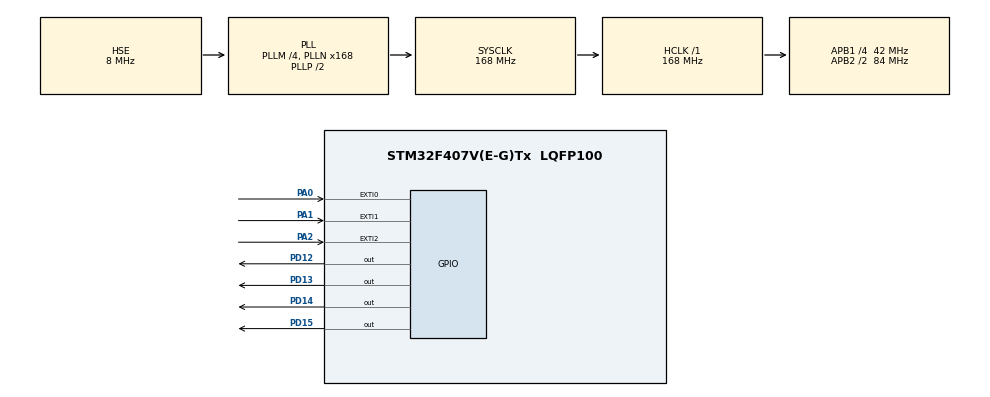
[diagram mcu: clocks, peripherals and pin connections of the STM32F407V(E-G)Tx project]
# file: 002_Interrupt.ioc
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Mcu.Family=STM32F4
Mcu.Name=STM32F407V(E-G)Tx
Mcu.Package=LQFP100
NVIC.EXTI0_IRQn=true\:0\:0\:false\:false\:true\:true\:true\:true
NVIC.EXTI1_IRQn=true\:0\:0\:false\:false\:true\:true\:true\:true
NVIC.EXTI2_IRQn=true\:0\:0\:false\:false\:true\:true\:true\:true
NVIC.PriorityGroup=NVIC_PRIORITYGROUP_4
PA0-WKUP.GPIO_ModeDefaultEXTI=GPIO_MODE_IT_RISING
PA0-WKUP.GPIO_PuPd=GPIO_PULLDOWN
PA0-WKUP.Signal=GPXTI0
PA1.GPIO_ModeDefaultEXTI=GPIO_MODE_IT_RISING
PA1.GPIO_PuPd=GPIO_PULLDOWN
PA1.Signal=GPXTI1
PA13.Mode=Serial_Wire
PA13.Signal=SYS_JTMS-SWDIO
PA14.Mode=Serial_Wire
PA14.Signal=SYS_JTCK-SWCLK
PA2.GPIO_ModeDefaultEXTI=GPIO_MODE_IT_RISING
PA2.GPIO_PuPd=GPIO_PULLDOWN
PA2.Signal=GPXTI2
PD12.GPIO_Speed=GPIO_SPEED_FREQ_VERY_HIGH
PD12.Signal=GPIO_Output
PD13.GPIO_Speed=GPIO_SPEED_FREQ_VERY_HIGH
PD13.Signal=GPIO_Output
PD14.GPIO_Speed=GPIO_SPEED_FREQ_VERY_HIGH
PD14.Signal=GPIO_Output
PD15.GPIO_Speed=GPIO_SPEED_FREQ_VERY_HIGH
PD15.Signal=GPIO_Output
PH0-OSC_IN.Mode=HSE-External-Oscillator
PH0-OSC_IN.Signal=RCC_OSC_IN
PH1-OSC_OUT.Mode=HSE-External-Oscillator
PH1-OSC_OUT.Signal=RCC_OSC_OUT
ProjectManager.HeapSize=0x200
ProjectManager.StackSize=0x400
ProjectManager.TargetToolchain=STM32CubeIDE
RCC.48MHZClocksFreq_Value=84000000
RCC.AHBFreq_Value=168000000
RCC.APB1CLKDivider=RCC_HCLK_DIV4
RCC.APB1Freq_Value=42000000
RCC.APB1TimFreq_Value=84000000
RCC.APB2CLKDivider=RCC_HCLK_DIV2
RCC.APB2Freq_Value=84000000
RCC.APB2TimFreq_Value=168000000
RCC.CortexFreq_Value=168000000
RCC.HCLKFreq_Value=168000000
RCC.HSE_VALUE=8000000
RCC.HSI_VALUE=16000000
RCC.LSE_VALUE=32768
RCC.PLLM=4
RCC.PLLN=168
RCC.PLLSourceVirtual=RCC_PLLSOURCE_HSE
RCC.SYSCLKFreq_VALUE=168000000
RCC.SYSCLKSource=RCC_SYSCLKSOURCE_PLLCLK
RCC.VCOOutputFreq_Value=336000000
board=custom

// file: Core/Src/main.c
/* USER CODE BEGIN Header */
/**
  ******************************************************************************
  * @file           : main.c
  * @brief          : Main program body
  ******************************************************************************
  * @attention
  *
  * Copyright (c) 2024 STMicroelectronics.
  * All rights reserved.
  *
  * This software is licensed under terms that can be found in the LICENSE file
  * in the root directory of this software component.
  * If no LICENSE file comes with this software, it is provided AS-IS.
  *
  ******************************************************************************
  */
/* USER CODE END Header */
#include "main.h"

/* USER CODE BEGIN PV */
int count = 0, i = 0;
/* USER CODE END PV */

void SystemClock_Config(void);
static void MX_GPIO_Init(void);

/* USER CODE BEGIN 0 */
void HAL_GPIO_EXTI_Callback(uint16_t GPIO_Pin)// 1. We are calling to interrupt function...............
{
 i++;
  if (i == 1)
  {
	   count = 1000;
  }
  else if (i == 2)
  {
	   count = 750;
  }
  else if ( i == 3)
  {
	  count = 500;
  }
  else if (i == 4 )
  {
	  count = 250;
  }
  else

      i = 0;
}
/* USER CODE END 0 */

int main(void)
{

  /* MCU Configuration--------------------------------------------------------*/

  /* Reset of all peripherals, Initializes the Flash interface and the Systick. */
  HAL_Init();

  /* Configure the system clock */
  SystemClock_Config();

  /* Initialize all configured peripherals */
  MX_GPIO_Init();

  /* Infinite loop */
  while (1)
  {

    /* USER CODE BEGIN 3 */
	  HAL_GPIO_TogglePin(GPIOD, GPIO_PIN_All);
	  HAL_Delay(count);

  }
  /* USER CODE END 3 */
}

void SystemClock_Config(void)
{
  RCC_OscInitTypeDef RCC_OscInitStruct = {0};
  RCC_ClkInitTypeDef RCC_ClkInitStruct = {0};

  /** Configure the main internal regulator output voltage
  */
  __HAL_RCC_PWR_CLK_ENABLE();
  __HAL_PWR_VOLTAGESCALING_CONFIG(PWR_REGULATOR_VOLTAGE_SCALE1);

  /** Initializes the RCC Oscillators according to the specified parameters
  * in the RCC_OscInitTypeDef structure.
  */
  RCC_OscInitStruct.OscillatorType = RCC_OSCILLATORTYPE_HSE;
  RCC_OscInitStruct.HSEState = RCC_HSE_ON;
  RCC_OscInitStruct.PLL.PLLState = RCC_PLL_ON;
  RCC_OscInitStruct.PLL.PLLSource = RCC_PLLSOURCE_HSE;
  RCC_OscInitStruct.PLL.PLLM = 4;
  RCC_OscInitStruct.PLL.PLLN = 168;
  RCC_OscInitStruct.PLL.PLLP = RCC_PLLP_DIV2;
  RCC_OscInitStruct.PLL.PLLQ = 4;
  if (HAL_RCC_OscConfig(&RCC_OscInitStruct) != HAL_OK)
  {
    Error_Handler();
  }

  /** Initializes the CPU, AHB and APB buses clocks
  */
  RCC_ClkInitStruct.ClockType = RCC_CLOCKTYPE_HCLK|RCC_CLOCKTYPE_SYSCLK
                              |RCC_CLOCKTYPE_PCLK1|RCC_CLOCKTYPE_PCLK2;
  RCC_ClkInitStruct.SYSCLKSource = RCC_SYSCLKSOURCE_PLLCLK;
  RCC_ClkInitStruct.AHBCLKDivider = RCC_SYSCLK_DIV1;
  RCC_ClkInitStruct.APB1CLKDivider = RCC_HCLK_DIV4;
  RCC_ClkInitStruct.APB2CLKDivider = RCC_HCLK_DIV2;

  if (HAL_RCC_ClockConfig(&RCC_ClkInitStruct, FLASH_LATENCY_5) != HAL_OK)
  {
    Error_Handler();
  }
}

static void MX_GPIO_Init(void)
{
  GPIO_InitTypeDef GPIO_InitStruct = {0};

  /* GPIO Ports Clock Enable */
  __HAL_RCC_GPIOH_CLK_ENABLE();
  __HAL_RCC_GPIOA_CLK_ENABLE();
  __HAL_RCC_GPIOD_CLK_ENABLE();

  /*Configure GPIO pin Output Level */
  HAL_GPIO_WritePin(GPIOD, GPIO_PIN_12|GPIO_PIN_13|GPIO_PIN_14|GPIO_PIN_15, GPIO_PIN_RESET);

  /*Configure GPIO pins : PA0 PA1 PA2 */
  GPIO_InitStruct.Pin = GPIO_PIN_0|GPIO_PIN_1|GPIO_PIN_2;
  GPIO_InitStruct.Mode = GPIO_MODE_IT_RISING;
  GPIO_InitStruct.Pull = GPIO_PULLDOWN;
  HAL_GPIO_Init(GPIOA, &GPIO_InitStruct);

  /*Configure GPIO pins : PD12 PD13 PD14 PD15 */
  GPIO_InitStruct.Pin = GPIO_PIN_12|GPIO_PIN_13|GPIO_PIN_14|GPIO_PIN_15;
  GPIO_InitStruct.Mode = GPIO_MODE_OUTPUT_PP;
  GPIO_InitStruct.Pull = GPIO_NOPULL;
  GPIO_InitStruct.Speed = GPIO_SPEED_FREQ_VERY_HIGH;
  HAL_GPIO_Init(GPIOD, &GPIO_InitStruct);

  /* EXTI interrupt init*/
  HAL_NVIC_SetPriority(EXTI0_IRQn, 0, 0);
  HAL_NVIC_EnableIRQ(EXTI0_IRQn);

  HAL_NVIC_SetPriority(EXTI1_IRQn, 0, 0);
  HAL_NVIC_EnableIRQ(EXTI1_IRQn);

  HAL_NVIC_SetPriority(EXTI2_IRQn, 0, 0);
  HAL_NVIC_EnableIRQ(EXTI2_IRQn);

}

void Error_Handler(void)
{
  __disable_irq();
  while (1)
  {
  }
}
